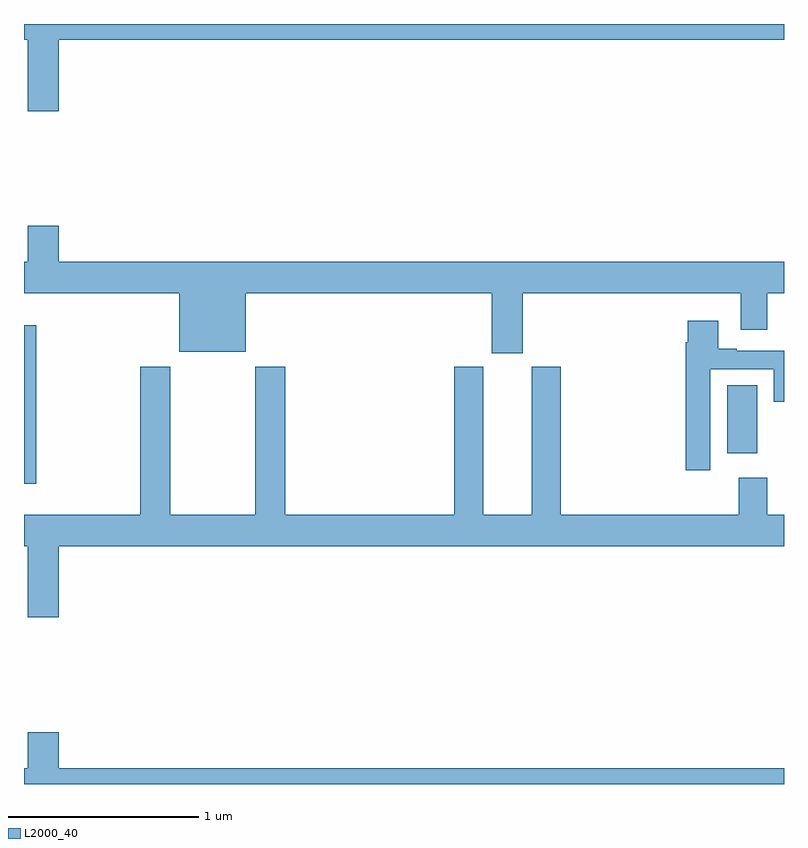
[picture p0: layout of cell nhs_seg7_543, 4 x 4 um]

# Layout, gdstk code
import gdstk
lib = gdstk.Library(unit=1e-6, precision=1e-09)
def R(c, l, rs):  # rectangles x0, y0, x1, y1
    for r in rs: c.add(gdstk.rectangle(r[:2], r[2:], *l))
def P(c, l, *ps):  # polygons
    for p in ps: c.add(gdstk.Polygon(p, *l))
L2000_40 = (2000, 40)

nhs_seg7_543 = lib.new_cell('nhs_seg7_543')
R(nhs_seg7_543, L2000_40, [(153,1031.58,153.065,1032.415), (156.701,1031.742,156.859,1032.098)])
P(nhs_seg7_543, L2000_40, [(153.184,1033.916),(157,1033.916),(157,1034),(153,1034),(153,1033.916),(153.02,1033.916),(153.02,1033.542),(153.184,1033.542)],
  [(153.184,1032.937),(153.02,1032.937),(153.02,1032.748),(153,1032.748),(153,1032.584),(153.818,1032.584),(153.818,1032.275),(154.168,1032.275),(154.168,1032.584),(155.462,1032.584),(155.462,1032.267),(155.626,1032.267),(155.626,1032.584),(156.773,1032.584),(156.773,1032.39),(156.913,1032.39),(156.913,1032.584),(157,1032.584),(157,1032.748),(153.184,1032.748)],
  [(156.613,1032.183),(156.947,1032.183),(156.947,1032.012),(157,1032.012),(157,1032.279),(156.751,1032.279),(156.751,1032.292),(156.655,1032.292),(156.655,1032.439),(156.494,1032.439),(156.494,1032.326),(156.482,1032.326),(156.482,1031.652),(156.613,1031.652)],
  [(153.184,1031.252),(157,1031.252),(157,1031.416),(156.913,1031.416),(156.913,1031.611),(156.761,1031.611),(156.761,1031.416),(155.825,1031.416),(155.825,1032.195),(155.672,1032.195),(155.672,1031.416),(155.416,1031.416),(155.416,1032.195),(155.264,1032.195),(155.264,1031.416),(154.376,1031.416),(154.376,1032.196),(154.216,1032.196),(154.216,1031.416),(153.771,1031.416),(153.771,1032.196),(153.611,1032.196),(153.611,1031.416),(153,1031.416),(153,1031.252),(153.02,1031.252),(153.02,1030.878),(153.184,1030.878)],
  [(157,1030.084),(153.184,1030.084),(153.184,1030.273),(153.02,1030.273),(153.02,1030.084),(153,1030.084),(153,1030),(157,1030)])

lib.write_gds('nhs_seg7_543.gds')
